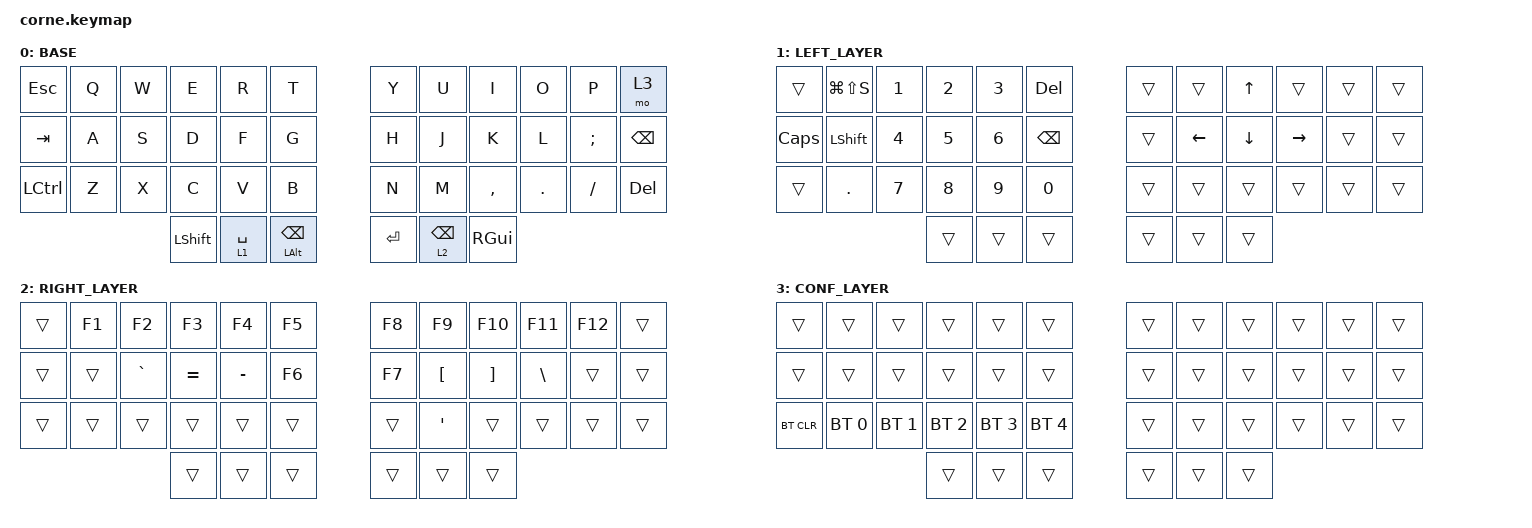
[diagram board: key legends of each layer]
/*
 * Copyright (c) 2020 The ZMK Contributors
 *
 * SPDX-License-Identifier: MIT
 */

#include <behaviors.dtsi>
#include <dt-bindings/zmk/bt.h>
#include <dt-bindings/zmk/keys.h>

/ {
    combos {
        compatible = "zmk,combos";

        copy_combo {
            bindings = <&kp LC(C)>;
            key-positions = <15 16>;
            timeout-ms = <30>;
            require-prior-idle-ms = <30>;
            layers = <0>;
        };

        paste_combo {
            bindings = <&kp LC(V)>;
            key-positions = <16 27>;
            timeout-ms = <30>;
            require-prior-idle-ms = <30>;
            layers = <0>;
        };

        cut_combo {
            bindings = <&kp LC(X)>;
            key-positions = <15 4>;
            timeout-ms = <30>;
            require-prior-idle-ms = <30>;
            layers = <0>;
        };

        select_all_combo {
            bindings = <&kp LC(A)>;
            key-positions = <16 14>;
            timeout-ms = <30>;
            require-prior-idle-ms = <30>;
            layers = <0>;
        };

        enter_combo {
            bindings = <&kp ENTER>;
            key-positions = <27 28>;
            timeout-ms = <30>;
            require-prior-idle-ms = <30>;
            layers = <0>;
        };

        undo_combo {
            bindings = <&kp LC(Z)>;
            key-positions = <27 26>;
            timeout-ms = <30>;
            require-prior-idle-ms = <30>;
            layers = <0>;
        };

        redo_combo {
            bindings = <&kp LC(LS(Z))>;
            key-positions = <26 28>;
            timeout-ms = <30>;
            require-prior-idle-ms = <30>;
            layers = <0>;
        };

        save_combo {
            bindings = <&kp LC(S)>;
            key-positions = <15 14>;
            timeout-ms = <30>;
            require-prior-idle-ms = <30>;
            layers = <0>;
        };

        alt_tab_combo {
            bindings = <&kp LA(TAB)>;
            key-positions = <13 16>;
            timeout-ms = <30>;
            require-prior-idle-ms = <30>;
            layers = <0>;
        };

        ctrl_bksp {
            bindings = <&kp LC(BACKSPACE)>;
            key-positions = <19 20>;
            timeout-ms = <30>;
            require-prior-idle-ms = <30>;
            layers = <0>;
        };
    };

    keymap {
        compatible = "zmk,keymap";

        BASE {
            // -----------------------------------------------------------------------------------------
            // |  TAB |  Q  |  W  |  E  |  R  |  T  |   |  Y  |  U   |  I  |  O  |  P  | BSPC |
            // | CTRL |  A  |  S  |  D  |  F  |  G  |   |  H  |  J   |  K  |  L  |  ;  |  '   |
            // | SHFT |  Z  |  X  |  C  |  V  |  B  |   |  N  |  M   |  ,  |  .  |  /  | ESC  |
            //                    | GUI | LWR | SPC |   | ENT | RSE  | ALT |

            bindings = <
&kp ESCAPE  &kp Q  &kp W  &kp E           &kp R        &kp T                     &kp Y      &kp U            &kp I          &kp O    &kp P     &mo 3
&kp TAB     &kp A  &kp S  &kp D           &kp F        &kp G                     &kp H      &kp J            &kp K          &kp L    &kp SEMI  &kp BSPC
&kp LCTRL   &kp Z  &kp X  &kp C           &kp V        &kp B                     &kp N      &kp M            &kp COMMA      &kp DOT  &kp FSLH  &kp DELETE
                          &kp LEFT_SHIFT  &lt 1 SPACE  &mt LEFT_ALT BACKSPACE    &kp ENTER  &lt 2 BACKSPACE  &kp RIGHT_GUI
            >;
        };

        LEFT_LAYER {
            // -----------------------------------------------------------------------------------------
            // |  TAB |  1  |  2  |  3  |  4  |  5  |   |  6  |  7  |  8  |  9  |  0  | BSPC |
            // | BTCLR| BT1 | BT2 | BT3 | BT4 | BT5 |   | LFT | DWN |  UP | RGT |     |      |
            // | SHFT |     |     |     |     |     |   |     |     |     |     |     |      |
            //                    | GUI |     | SPC |   | ENT |     | ALT |

            bindings = <
&trans        &kp LG(LS(S))   &kp N1  &kp N2  &kp N3  &kp DELETE      &trans  &trans    &kp UP_ARROW  &trans     &trans  &trans
&kp CAPSLOCK  &kp LEFT_SHIFT  &kp N4  &kp N5  &kp N6  &kp BSPC        &trans  &kp LEFT  &kp DOWN      &kp RIGHT  &trans  &trans
&trans        &kp PERIOD      &kp N7  &kp N8  &kp N9  &kp NUMBER_0    &trans  &trans    &trans        &trans     &trans  &trans
                                      &trans  &trans  &trans          &trans  &trans    &trans
            >;
        };

        RIGHT_LAYER {
            // -----------------------------------------------------------------------------------------
            // |  TAB |  !  |  @  |  #  |  $  |  %  |   |  ^  |  &  |  *  |  (  |  )  | BSPC |
            // | CTRL |     |     |     |     |     |   |  -  |  =  |  [  |  ]  |  \  |  `   |
            // | SHFT |     |     |     |     |     |   |  _  |  +  |  {  |  }  | "|" |  ~   |
            //                    | GUI |     | SPC |   | ENT |     | ALT |

            bindings = <
&trans  &kp F1  &kp F2     &kp F3     &kp F4     &kp F5    &kp F8  &kp F9    &kp F10   &kp F11   &kp F12  &trans
&trans  &trans  &kp GRAVE  &kp EQUAL  &kp MINUS  &kp F6    &kp F7  &kp LBKT  &kp RBKT  &kp BSLH  &trans   &trans
&trans  &trans  &trans     &trans     &trans     &trans    &trans  &kp APOS  &trans    &trans    &trans   &trans
                           &trans     &trans     &trans    &trans  &trans    &trans
            >;
        };

        CONF_LAYER {
            bindings = <
&trans      &trans        &trans        &trans        &trans        &trans          &trans  &trans  &trans  &trans  &trans  &trans
&trans      &trans        &trans        &trans        &trans        &trans          &trans  &trans  &trans  &trans  &trans  &trans
&bt BT_CLR  &bt BT_SEL 0  &bt BT_SEL 1  &bt BT_SEL 2  &bt BT_SEL 3  &bt BT_SEL 4    &trans  &trans  &trans  &trans  &trans  &trans
                                        &trans        &trans        &trans          &trans  &trans  &trans
            >;
        };
    };
};
